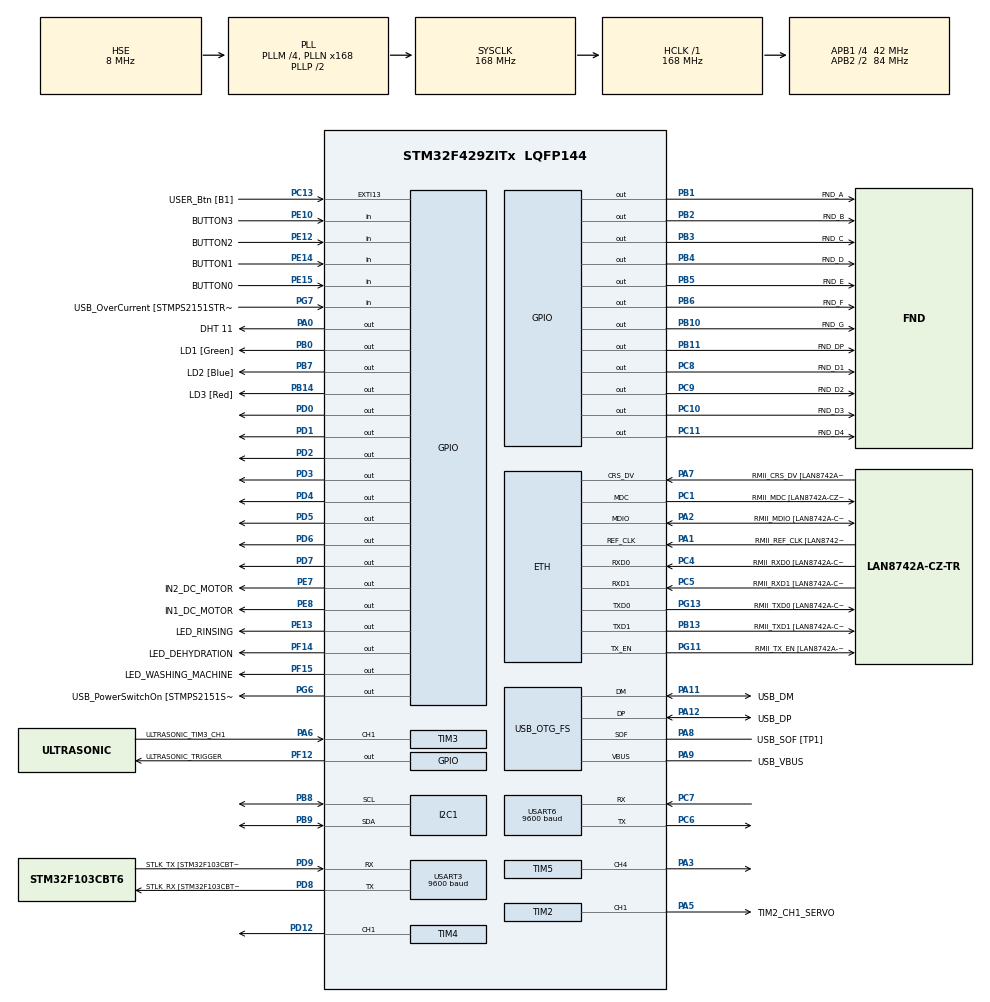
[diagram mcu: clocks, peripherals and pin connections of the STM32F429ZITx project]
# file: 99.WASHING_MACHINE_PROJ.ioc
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ETH.MediaInterface=HAL_ETH_RMII_MODE
ETH.PHY_Name=LAN8742A_PHY_ADDRESS
ETH.PHY_Value=0
ETH.PhyAddress=0
Mcu.Family=STM32F4
Mcu.Name=STM32F429ZITx
Mcu.Package=LQFP144
NVIC.PriorityGroup=NVIC_PRIORITYGROUP_4
NVIC.TIM1_TRG_COM_TIM11_IRQn=true\:0\:0\:false\:false\:true\:true\:true\:true
NVIC.TIM1_UP_TIM10_IRQn=true\:0\:0\:false\:false\:true\:true\:true\:true
NVIC.TIM2_IRQn=true\:0\:0\:false\:false\:true\:true\:true\:true
NVIC.TIM3_IRQn=true\:0\:0\:false\:false\:true\:true\:true\:true
NVIC.TIM4_IRQn=true\:0\:0\:false\:false\:true\:true\:true\:true
NVIC.TIM5_IRQn=true\:0\:0\:false\:false\:true\:true\:true\:true
NVIC.USART3_IRQn=true\:0\:0\:false\:false\:true\:true\:true\:true
NVIC.USART6_IRQn=true\:0\:0\:false\:false\:true\:true\:true\:true
PA0/WKUP.GPIO_Label=DHT 11
PA0/WKUP.Signal=GPIO_Output
PA1.GPIO_Label=RMII_REF_CLK [LAN8742A-CZ-TR_REFCLK0]
PA1.Mode=RMII
PA1.Signal=ETH_REF_CLK
PA10.GPIO_Label=USB_ID
PA10.Signal=USB_OTG_FS_ID
PA11.GPIO_Label=USB_DM
PA11.Mode=Device_Only
PA11.Signal=USB_OTG_FS_DM
PA12.GPIO_Label=USB_DP
PA12.Mode=Device_Only
PA12.Signal=USB_OTG_FS_DP
PA13.GPIO_Label=TMS
PA13.Mode=Serial_Wire
PA13.Signal=SYS_JTMS-SWDIO
PA14.GPIO_Label=TCK
PA14.Mode=Serial_Wire
PA14.Signal=SYS_JTCK-SWCLK
PA2.GPIO_Label=RMII_MDIO [LAN8742A-CZ-TR_MDIO]
PA2.Mode=RMII
PA2.Signal=ETH_MDIO
PA3.Signal=S_TIM5_CH4
PA5.GPIO_Label=TIM2_CH1_SERVO
PA5.Signal=S_TIM2_CH1_ETR
PA6.GPIO_Label=ULTRASONIC_TIM3_CH1
PA6.Signal=S_TIM3_CH1
PA7.GPIO_Label=RMII_CRS_DV [LAN8742A-CZ-TR_CRS_DV]
PA7.Mode=RMII
PA7.Signal=ETH_CRS_DV
PA8.GPIO_Label=USB_SOF [TP1]
PA8.Mode=Activate_SOF_FS
PA8.Signal=USB_OTG_FS_SOF
PA9.GPIO_Label=USB_VBUS
PA9.Mode=Activate_VBUS
PA9.Signal=USB_OTG_FS_VBUS
PB0.GPIO_Label=LD1 [Green]
PB0.Signal=GPIO_Output
PB1.GPIO_Label=FND_A
PB1.Signal=GPIO_Output
PB10.GPIO_Label=FND_G
PB10.Signal=GPIO_Output
PB11.GPIO_Label=FND_DP
PB11.Signal=GPIO_Output
PB13.GPIO_Label=RMII_TXD1 [LAN8742A-CZ-TR_TXD1]
PB13.Mode=RMII
PB13.Signal=ETH_TXD1
PB14.GPIO_Label=LD3 [Red]
PB14.Signal=GPIO_Output
PB2/BOOT1.GPIO_Label=FND_B
PB2/BOOT1.Signal=GPIO_Output
PB3.GPIO_Label=FND_C
PB3.Signal=GPIO_Output
PB4.GPIO_Label=FND_D
PB4.Signal=GPIO_Output
PB5.GPIO_Label=FND_E
PB5.Signal=GPIO_Output
PB6.GPIO_Label=FND_F
PB6.Signal=GPIO_Output
PB7.GPIO_Label=LD2 [Blue]
PB7.Signal=GPIO_Output
PB8.Mode=I2C
PB8.Signal=I2C1_SCL
PB9.Mode=I2C
PB9.Signal=I2C1_SDA
PC1.GPIO_Label=RMII_MDC [LAN8742A-CZ-TR_MDC]
PC1.Mode=RMII
PC1.Signal=ETH_MDC
PC10.GPIO_Label=FND_D3
PC10.Signal=GPIO_Output
PC11.GPIO_Label=FND_D4
PC11.Signal=GPIO_Output
PC13.GPIO_Label=USER_Btn [B1]
PC13.Signal=GPXTI13
PC14/OSC32_IN.Mode=LSE-External-Oscillator
PC14/OSC32_IN.Signal=RCC_OSC32_IN
PC15/OSC32_OUT.Mode=LSE-External-Oscillator
PC15/OSC32_OUT.Signal=RCC_OSC32_OUT
PC4.GPIO_Label=RMII_RXD0 [LAN8742A-CZ-TR_RXD0]
PC4.Mode=RMII
PC4.Signal=ETH_RXD0
PC5.GPIO_Label=RMII_RXD1 [LAN8742A-CZ-TR_RXD1]
PC5.Mode=RMII
PC5.Signal=ETH_RXD1
PC6.Mode=Asynchronous
PC6.Signal=USART6_TX
PC7.Mode=Asynchronous
PC7.Signal=USART6_RX
PC8.GPIO_Label=FND_D1
PC8.Signal=GPIO_Output
PC9.GPIO_Label=FND_D2
PC9.Signal=GPIO_Output
PD0.Signal=GPIO_Output
PD1.Signal=GPIO_Output
PD12.Signal=S_TIM4_CH1
PD2.Signal=GPIO_Output
PD3.Signal=GPIO_Output
PD4.Signal=GPIO_Output
PD5.Signal=GPIO_Output
PD6.Signal=GPIO_Output
PD7.Signal=GPIO_Output
PD8.GPIO_Label=STLK_RX [STM32F103CBT6_PA3]
PD8.Mode=Asynchronous
PD8.Signal=USART3_TX
PD9.GPIO_Label=STLK_TX [STM32F103CBT6_PA2]
PD9.Mode=Asynchronous
PD9.Signal=USART3_RX
PE10.GPIO_Label=BUTTON3
PE10.Signal=GPIO_Input
PE12.GPIO_Label=BUTTON2
PE12.Signal=GPIO_Input
PE13.GPIO_Label=LED_RINSING
PE13.Signal=GPIO_Output
PE14.GPIO_Label=BUTTON1
PE14.Signal=GPIO_Input
PE15.GPIO_Label=BUTTON0
PE15.Signal=GPIO_Input
PE7.GPIO_Label=IN2_DC_MOTOR
PE7.Signal=GPIO_Output
PE8.GPIO_Label=IN1_DC_MOTOR
PE8.Signal=GPIO_Output
PF12.GPIO_Label=ULTRASONIC_TRIGGER
PF12.Signal=GPIO_Output
PF14.GPIO_Label=LED_DEHYDRATION
PF14.Signal=GPIO_Output
PF15.GPIO_Label=LED_WASHING_MACHINE
PF15.Signal=GPIO_Output
PG11.GPIO_Label=RMII_TX_EN [LAN8742A-CZ-TR_TXEN]
PG11.Mode=RMII
PG11.Signal=ETH_TX_EN
PG13.GPIO_Label=RMII_TXD0 [LAN8742A-CZ-TR_TXD0]
PG13.Mode=RMII
PG13.Signal=ETH_TXD0
PG6.GPIO_Label=USB_PowerSwitchOn [STMPS2151STR_EN]
PG6.Signal=GPIO_Output
PG7.GPIO_Label=USB_OverCurrent [STMPS2151STR_FAULT]
PG7.Signal=GPIO_Input
PH0/OSC_IN.GPIO_Label=MCO [STM32F103CBT6_PA8]
PH0/OSC_IN.Mode=HSE-External-Clock-Source
PH0/OSC_IN.Signal=RCC_OSC_IN
PH1/OSC_OUT.Mode=HSE-External-Clock-Source
PH1/OSC_OUT.Signal=RCC_OSC_OUT
ProjectManager.HeapSize=0x200
ProjectManager.StackSize=0x400
ProjectManager.TargetToolchain=STM32CubeIDE
RCC.48MHZClocksFreq_Value=48000000
RCC.AHBFreq_Value=168000000
RCC.APB1CLKDivider=RCC_HCLK_DIV4
RCC.APB1Freq_Value=42000000
RCC.APB1TimFreq_Value=84000000
RCC.APB2CLKDivider=RCC_HCLK_DIV2
RCC.APB2Freq_Value=84000000
RCC.APB2TimCLKDivider=2
RCC.APB2TimFreq_Value=168000000
RCC.CortexFreq_Value=168000000
RCC.HCLKFreq_Value=168000000
RCC.HSE_VALUE=8000000
RCC.HSI_VALUE=16000000
RCC.PLLM=4
RCC.PLLMUL=RCC_PLL_MUL9
RCC.PLLN=168
RCC.PLLQ=7
RCC.PRESCALERUSB=RCC_USBCLKSOURCE_PLL_DIV1_5
RCC.RCC_RTC_Clock_Source=RCC_RTCCLKSOURCE_LSI
RCC.RCC_RTC_Clock_SourceVirtual=RCC_RTCCLKSOURCE_LSI
RCC.SYSCLKFreq_VALUE=168000000
RCC.SYSCLKSource=RCC_SYSCLKSOURCE_PLLCLK
RCC.SYSCLKSourceVirtual=RCC_SYSCLKSOURCE_PLLCLK
RCC.USBFreq_Value=48000000
RCC.VCOOutputFreq_Value=336000000
RTC.Date=16
RTC.Month=RTC_MONTH_OCTOBER
RTC.Year=23
SH.S_TIM2_CH1_ETR.0=TIM2_CH1,PWM Generation1 CH1
SH.S_TIM3_CH1.0=TIM3_CH1,Input_Capture1_from_TI1
SH.S_TIM4_CH1.0=TIM4_CH1,PWM Generation1 CH1
SH.S_TIM5_CH4.0=TIM5_CH4,PWM Generation4 CH4
TIM10.Period=10000-1
TIM10.Prescaler=168-1
TIM11.Prescaler=168-1
TIM2.Channel-PWM\ Generation1\ CH1=TIM_CHANNEL_1
TIM2.Period=1000-1
TIM2.Prescaler=1680-1
TIM2.Pulse-PWM\ Generation1\ CH1=500-1
TIM3.Channel-Input_Capture1_from_TI1=TIM_CHANNEL_1
TIM3.ICPolarity_CH1=TIM_INPUTCHANNELPOLARITY_BOTHEDGE
TIM3.Prescaler=84-1
TIM4.Channel-PWM\ Generation1\ CH1=TIM_CHANNEL_1
TIM4.OCFastMode_PWM-PWM\ Generation1\ CH1=TIM_OCFAST_ENABLE
TIM4.Period=100-1
TIM4.Prescaler=840-1
TIM4.Pulse-PWM\ Generation1\ CH1=70-1
TIM5.Channel-PWM\ Generation4\ CH4=TIM_CHANNEL_4
TIM5.Period=400-1
TIM5.Prescaler=52.5-1
TIM5.Pulse-PWM\ Generation4\ CH4=200-1
USART3.BaudRate=9600
USART3.VirtualMode=VM_ASYNC
USART6.BaudRate=9600
USART6.VirtualMode=VM_ASYNC
USB_OTG_FS.VirtualMode=Device_Only
VP_RTC_VS_RTC_Activate.Mode=RTC_Enabled
VP_RTC_VS_RTC_Calendar.Mode=RTC_Calendar
VP_TIM10_VS_ClockSourceINT.Mode=Enable_Timer
VP_TIM11_VS_ClockSourceINT.Mode=Enable_Timer
VP_TIM4_VS_ClockSourceINT.Mode=Internal
VP_TIM5_VS_ClockSourceINT.Mode=Internal
board=NUCLEO-F429ZI

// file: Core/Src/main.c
/* USER CODE BEGIN Header */
/**
  ******************************************************************************
  * @file           : main.c
  * @brief          : Main program body
  ******************************************************************************
  * @attention
  *
  * Copyright (c) 2023 STMicroelectronics.
  * All rights reserved.
  *
  * This software is licensed under terms that can be found in the LICENSE file
  * in the root directory of this software component.
  * If no LICENSE file comes with this software, it is provided AS-IS.
  *
  ******************************************************************************
  */
#include "stdio.h"
/* USER CODE END Header */
#include "main.h"
#include "string.h"

ETH_TxPacketConfig TxConfig;
ETH_DMADescTypeDef  DMARxDscrTab[ETH_RX_DESC_CNT]; /* Ethernet Rx DMA Descriptors */
ETH_DMADescTypeDef  DMATxDscrTab[ETH_TX_DESC_CNT]; /* Ethernet Tx DMA Descriptors */

ETH_HandleTypeDef heth;

I2C_HandleTypeDef hi2c1;

RTC_HandleTypeDef hrtc;

TIM_HandleTypeDef htim2;
TIM_HandleTypeDef htim3;
TIM_HandleTypeDef htim4;
TIM_HandleTypeDef htim5;
TIM_HandleTypeDef htim10;
TIM_HandleTypeDef htim11;

UART_HandleTypeDef huart3;
UART_HandleTypeDef huart6;

PCD_HandleTypeDef hpcd_USB_OTG_FS;

/* USER CODE BEGIN PV */
uint8_t rx_data;
uint8_t bt_rx_data;
volatile int t1ms_count = 0; // volatile : for disable optimize
volatile int TIM10_10ms_counter = 0;
volatile int TIM10_10ms_ultrasonic = 0;

volatile int led_blink_counter_1ms = 0;
volatile int laundry_timer_counter_10ms = 0;
volatile int rinsing_timer_counter_10ms = 0;
volatile int dehydration_timer_counter_10ms = 0;
volatile int fnd1ms_counter = 0;
volatile int fnd1ms_counter_timer = 0;
volatile int fnd1ms_counter_running = 0;
/* USER CODE END PV */

void SystemClock_Config(void);
static void MX_GPIO_Init(void);
static void MX_ETH_Init(void);
static void MX_USART3_UART_Init(void);
static void MX_USB_OTG_FS_PCD_Init(void);
static void MX_USART6_UART_Init(void);
static void MX_TIM10_Init(void);
static void MX_TIM11_Init(void);
static void MX_TIM3_Init(void);
static void MX_I2C1_Init(void);
static void MX_TIM4_Init(void);
static void MX_TIM2_Init(void);
static void MX_RTC_Init(void);
static void MX_TIM5_Init(void);
/* USER CODE BEGIN PFP */
extern void led_main(void);
extern void pc_command_processing(void);
extern void bt_command_processing(void);
extern void HAL_SYSTIC_handler(void);
extern void DHT11_Init(void);
extern void DHT11_main(void);
extern void DHT11_processing(void);
extern void ultrasonic_processing(void);
extern void i2c_lcd_main(void);
extern void i2c_lcd_init(void);
extern void dcmotor_pwm_control(void);
extern void init_dcmotor_pwm(void);
extern void servo_motor_test_main(void);
extern void get_rtc(void);
extern void lcd_display_mode_select(void);
extern void set_time_button_ui(void);
extern void buzzer_main(void);
extern void fnd4digit_sec_clock(void);
extern void FND4digit_off(void);
void delay_us(unsigned long us);

//washing_machine
extern void washing_machine_init(void);
extern void washing_machine_processing(void);
extern void washing_machine_choice_lcd(void);
/* USER CODE END PFP */

/* USER CODE BEGIN 0 */
//-----------------------//
// call by SysTick_Handler of stm32f4xx_it.c
// ARM default timer
// enter here every 1ms
void HAL_SYSTIC_handler(void)
{
	t1ms_count++; // 1ms timer
	fnd1ms_counter++;
	fnd1ms_counter_timer++; // 1ms fnd timer
	fnd1ms_counter_running++;
	led_blink_counter_1ms++;
}
//----------  printf start ----------
#ifdef __GNUC__
/* With GCC, small printf (option LD Linker->Libraries->Small printf
   set to 'Yes') calls __io_putchar() */
#define PUTCHAR_PROTOTYPE int __io_putchar(int ch)
#else
#define PUTCHAR_PROTOTYPE int fputc(int ch, FILE *f)
#endif /* __GNUC_ */
/**
  * @brief  Retargets the C library printf function to the USART.
  * @param  None
  * @retval None
  */
PUTCHAR_PROTOTYPE   // Add for printf
{
  /* Place your implementation of fputc here */
  /* e.g. write a character to the USART3 and Loop until the end of transmission */
  HAL_UART_Transmit(&huart3, (uint8_t *)&ch, 1, 0xFFFF);

  return ch;
}
//----------  printf end ----------

/**
  * @brief  The application entry point.
  * @retval int
  */

/**
  * @brief  Period elapsed callback in non-blocking mode
  * @param  htim TIM handle
  * @retval None
  */
// move from Driver/STM32F4xx_HAL_Driver/stm3f4xx_hal_tim.c to here
void HAL_TIM_PeriodElapsedCallback(TIM_HandleTypeDef *htim)
{
	if (htim->Instance == TIM10)
	{
		TIM10_10ms_ultrasonic++; // 초음?�� ?��?��
		TIM10_10ms_counter++; // 10ms timer counter
		laundry_timer_counter_10ms++;
		rinsing_timer_counter_10ms++;
		dehydration_timer_counter_10ms++;
	}
}

void delay_us(unsigned long us)
{
	// H/W Register
	__HAL_TIM_SET_COUNTER(&htim11, 0); // timer 11 clear
	while(__HAL_TIM_GET_COUNTER(&htim11) < us) {}
}

/* USER CODE END 0 */

int main(void)
{

  /* MCU Configuration--------------------------------------------------------*/

  /* Reset of all peripherals, Initializes the Flash interface and the Systick. */
  HAL_Init();

  /* Configure the system clock */
  SystemClock_Config();

  /* Initialize all configured peripherals */
  MX_GPIO_Init();
  MX_ETH_Init();
  MX_USART3_UART_Init();
  MX_USB_OTG_FS_PCD_Init();
  MX_USART6_UART_Init();
  MX_TIM10_Init();
  MX_TIM11_Init();
  MX_TIM3_Init();
  MX_I2C1_Init();
  MX_TIM4_Init();
  MX_TIM2_Init();
  MX_RTC_Init();
  MX_TIM5_Init();
  /* USER CODE BEGIN 2 */
  HAL_TIM_Base_Start_IT(&htim10);	// ADD_Dohyeon_1011
  HAL_TIM_Base_Start_IT(&htim11);	// ADD_Dohyeon_1011
  HAL_TIM_IC_Start_IT(&htim3, TIM_CHANNEL_1); // for count pulse(rising edge & falling edge)
  HAL_UART_Receive_IT(&huart3, &rx_data, 1); // assign to RX INTURRUPT
  HAL_UART_Receive_IT(&huart6, &bt_rx_data, 1); // for BT assign to RX INTURRUPT
  HAL_TIM_PWM_Start_IT(&htim4, TIM_CHANNEL_1); // for DC motor PWM control
  HAL_TIM_PWM_Start_IT(&htim2, TIM_CHANNEL_1); // for SERVO motor PWM control

  //washing machine
  washing_machine_init();
  washing_machine_choice_lcd();
  /* USER CODE END 2 */

  /* Infinite loop */
  /* USER CODE BEGIN WHILE */
  while (1)
  {
//	  DHT11_processing();
//	  pc_command_processing();
	  ultrasonic_processing();
//	  dcmotor_pwm_control();
//	  bt_command_processing();
//	  get_rtc();
//	  lcd_display_mode_select();
//	  set_time_button_ui();

	  washing_machine_processing();

//	  fnd4digit_sec_clock();
    /* USER CODE END WHILE */

  }
}

void SystemClock_Config(void)
{
  RCC_OscInitTypeDef RCC_OscInitStruct = {0};
  RCC_ClkInitTypeDef RCC_ClkInitStruct = {0};

  /** Configure the main internal regulator output voltage
  */
  __HAL_RCC_PWR_CLK_ENABLE();
  __HAL_PWR_VOLTAGESCALING_CONFIG(PWR_REGULATOR_VOLTAGE_SCALE1);

  /** Initializes the RCC Oscillators according to the specified parameters
  * in the RCC_OscInitTypeDef structure.
  */
  RCC_OscInitStruct.OscillatorType = RCC_OSCILLATORTYPE_LSI|RCC_OSCILLATORTYPE_HSE;
  RCC_OscInitStruct.HSEState = RCC_HSE_BYPASS;
  RCC_OscInitStruct.LSIState = RCC_LSI_ON;
  RCC_OscInitStruct.PLL.PLLState = RCC_PLL_ON;
  RCC_OscInitStruct.PLL.PLLSource = RCC_PLLSOURCE_HSE;
  RCC_OscInitStruct.PLL.PLLM = 4;
  RCC_OscInitStruct.PLL.PLLN = 168;
  RCC_OscInitStruct.PLL.PLLP = RCC_PLLP_DIV2;
  RCC_OscInitStruct.PLL.PLLQ = 7;
  if (HAL_RCC_OscConfig(&RCC_OscInitStruct) != HAL_OK)
  {
    Error_Handler();
  }

  /** Initializes the CPU, AHB and APB buses clocks
  */
  RCC_ClkInitStruct.ClockType = RCC_CLOCKTYPE_HCLK|RCC_CLOCKTYPE_SYSCLK
                              |RCC_CLOCKTYPE_PCLK1|RCC_CLOCKTYPE_PCLK2;
  RCC_ClkInitStruct.SYSCLKSource = RCC_SYSCLKSOURCE_PLLCLK;
  RCC_ClkInitStruct.AHBCLKDivider = RCC_SYSCLK_DIV1;
  RCC_ClkInitStruct.APB1CLKDivider = RCC_HCLK_DIV4;
  RCC_ClkInitStruct.APB2CLKDivider = RCC_HCLK_DIV2;

  if (HAL_RCC_ClockConfig(&RCC_ClkInitStruct, FLASH_LATENCY_5) != HAL_OK)
  {
    Error_Handler();
  }
}

static void MX_ETH_Init(void)
{

   static uint8_t MACAddr[6];

  heth.Instance = ETH;
  MACAddr[0] = 0x00;
  MACAddr[1] = 0x80;
  MACAddr[2] = 0xE1;
  MACAddr[3] = 0x00;
  MACAddr[4] = 0x00;
  MACAddr[5] = 0x00;
  heth.Init.MACAddr = &MACAddr[0];
  heth.Init.MediaInterface = HAL_ETH_RMII_MODE;
  heth.Init.TxDesc = DMATxDscrTab;
  heth.Init.RxDesc = DMARxDscrTab;
  heth.Init.RxBuffLen = 1524;

  if (HAL_ETH_Init(&heth) != HAL_OK)
  {
    Error_Handler();
  }

  memset(&TxConfig, 0 , sizeof(ETH_TxPacketConfig));
  TxConfig.Attributes = ETH_TX_PACKETS_FEATURES_CSUM | ETH_TX_PACKETS_FEATURES_CRCPAD;
  TxConfig.ChecksumCtrl = ETH_CHECKSUM_IPHDR_PAYLOAD_INSERT_PHDR_CALC;
  TxConfig.CRCPadCtrl = ETH_CRC_PAD_INSERT;

}

static void MX_I2C1_Init(void)
{

  hi2c1.Instance = I2C1;
  hi2c1.Init.ClockSpeed = 100000;
  hi2c1.Init.DutyCycle = I2C_DUTYCYCLE_2;
  hi2c1.Init.OwnAddress1 = 0;
  hi2c1.Init.AddressingMode = I2C_ADDRESSINGMODE_7BIT;
  hi2c1.Init.DualAddressMode = I2C_DUALADDRESS_DISABLE;
  hi2c1.Init.OwnAddress2 = 0;
  hi2c1.Init.GeneralCallMode = I2C_GENERALCALL_DISABLE;
  hi2c1.Init.NoStretchMode = I2C_NOSTRETCH_DISABLE;
  if (HAL_I2C_Init(&hi2c1) != HAL_OK)
  {
    Error_Handler();
  }

  /** Configure Analogue filter
  */
  if (HAL_I2CEx_ConfigAnalogFilter(&hi2c1, I2C_ANALOGFILTER_ENABLE) != HAL_OK)
  {
    Error_Handler();
  }

  /** Configure Digital filter
  */
  if (HAL_I2CEx_ConfigDigitalFilter(&hi2c1, 0) != HAL_OK)
  {
    Error_Handler();
  }

}

static void MX_RTC_Init(void)
{

  RTC_TimeTypeDef sTime = {0};
  RTC_DateTypeDef sDate = {0};

  /** Initialize RTC Only
  */
  hrtc.Instance = RTC;
  hrtc.Init.HourFormat = RTC_HOURFORMAT_24;
  hrtc.Init.AsynchPrediv = 127;
  hrtc.Init.SynchPrediv = 255;
  hrtc.Init.OutPut = RTC_OUTPUT_DISABLE;
  hrtc.Init.OutPutPolarity = RTC_OUTPUT_POLARITY_HIGH;
  hrtc.Init.OutPutType = RTC_OUTPUT_TYPE_OPENDRAIN;
  if (HAL_RTC_Init(&hrtc) != HAL_OK)
  {
    Error_Handler();
  }

  /** Initialize RTC and set the Time and Date
  */
  sTime.Hours = 0x0;
  sTime.Minutes = 0x0;
  sTime.Seconds = 0x0;
  sTime.DayLightSaving = RTC_DAYLIGHTSAVING_NONE;
  sTime.StoreOperation = RTC_STOREOPERATION_RESET;
  if (HAL_RTC_SetTime(&hrtc, &sTime, RTC_FORMAT_BCD) != HAL_OK)
  {
    Error_Handler();
  }
  sDate.WeekDay = RTC_WEEKDAY_MONDAY;
  sDate.Month = RTC_MONTH_OCTOBER;
  sDate.Date = 0x16;
  sDate.Year = 0x23;

  if (HAL_RTC_SetDate(&hrtc, &sDate, RTC_FORMAT_BCD) != HAL_OK)
  {
    Error_Handler();
  }

}

static void MX_TIM2_Init(void)
{

  TIM_MasterConfigTypeDef sMasterConfig = {0};
  TIM_OC_InitTypeDef sConfigOC = {0};

  htim2.Instance = TIM2;
  htim2.Init.Prescaler = 1680-1;
  htim2.Init.CounterMode = TIM_COUNTERMODE_UP;
  htim2.Init.Period = 1000-1;
  htim2.Init.ClockDivision = TIM_CLOCKDIVISION_DIV1;
  htim2.Init.AutoReloadPreload = TIM_AUTORELOAD_PRELOAD_DISABLE;
  if (HAL_TIM_PWM_Init(&htim2) != HAL_OK)
  {
    Error_Handler();
  }
  sMasterConfig.MasterOutputTrigger = TIM_TRGO_RESET;
  sMasterConfig.MasterSlaveMode = TIM_MASTERSLAVEMODE_DISABLE;
  if (HAL_TIMEx_MasterConfigSynchronization(&htim2, &sMasterConfig) != HAL_OK)
  {
    Error_Handler();
  }
  sConfigOC.OCMode = TIM_OCMODE_PWM1;
  sConfigOC.Pulse = 500-1;
  sConfigOC.OCPolarity = TIM_OCPOLARITY_HIGH;
  sConfigOC.OCFastMode = TIM_OCFAST_DISABLE;
  if (HAL_TIM_PWM_ConfigChannel(&htim2, &sConfigOC, TIM_CHANNEL_1) != HAL_OK)
  {
    Error_Handler();
  }
  HAL_TIM_MspPostInit(&htim2);

}

static void MX_TIM3_Init(void)
{

  TIM_MasterConfigTypeDef sMasterConfig = {0};
  TIM_IC_InitTypeDef sConfigIC = {0};

  htim3.Instance = TIM3;
  htim3.Init.Prescaler = 84-1;
  htim3.Init.CounterMode = TIM_COUNTERMODE_UP;
  htim3.Init.Period = 65535;
  htim3.Init.ClockDivision = TIM_CLOCKDIVISION_DIV1;
  htim3.Init.AutoReloadPreload = TIM_AUTORELOAD_PRELOAD_DISABLE;
  if (HAL_TIM_IC_Init(&htim3) != HAL_OK)
  {
    Error_Handler();
  }
  sMasterConfig.MasterOutputTrigger = TIM_TRGO_RESET;
  sMasterConfig.MasterSlaveMode = TIM_MASTERSLAVEMODE_DISABLE;
  if (HAL_TIMEx_MasterConfigSynchronization(&htim3, &sMasterConfig) != HAL_OK)
  {
    Error_Handler();
  }
  sConfigIC.ICPolarity = TIM_INPUTCHANNELPOLARITY_BOTHEDGE;
  sConfigIC.ICSelection = TIM_ICSELECTION_DIRECTTI;
  sConfigIC.ICPrescaler = TIM_ICPSC_DIV1;
  sConfigIC.ICFilter = 0;
  if (HAL_TIM_IC_ConfigChannel(&htim3, &sConfigIC, TIM_CHANNEL_1) != HAL_OK)
  {
    Error_Handler();
  }

}

static void MX_TIM4_Init(void)
{

  TIM_ClockConfigTypeDef sClockSourceConfig = {0};
  TIM_MasterConfigTypeDef sMasterConfig = {0};
  TIM_OC_InitTypeDef sConfigOC = {0};

  htim4.Instance = TIM4;
  htim4.Init.Prescaler = 840-1;
  htim4.Init.CounterMode = TIM_COUNTERMODE_UP;
  htim4.Init.Period = 100-1;
  htim4.Init.ClockDivision = TIM_CLOCKDIVISION_DIV1;
  htim4.Init.AutoReloadPreload = TIM_AUTORELOAD_PRELOAD_DISABLE;
  if (HAL_TIM_Base_Init(&htim4) != HAL_OK)
  {
    Error_Handler();
  }
  sClockSourceConfig.ClockSource = TIM_CLOCKSOURCE_INTERNAL;
  if (HAL_TIM_ConfigClockSource(&htim4, &sClockSourceConfig) != HAL_OK)
  {
    Error_Handler();
  }
  if (HAL_TIM_PWM_Init(&htim4) != HAL_OK)
  {
    Error_Handler();
  }
  sMasterConfig.MasterOutputTrigger = TIM_TRGO_RESET;
  sMasterConfig.MasterSlaveMode = TIM_MASTERSLAVEMODE_DISABLE;
  if (HAL_TIMEx_MasterConfigSynchronization(&htim4, &sMasterConfig) != HAL_OK)
  {
    Error_Handler();
  }
  sConfigOC.OCMode = TIM_OCMODE_PWM1;
  sConfigOC.Pulse = 70-1;
  sConfigOC.OCPolarity = TIM_OCPOLARITY_HIGH;
  sConfigOC.OCFastMode = TIM_OCFAST_ENABLE;
  if (HAL_TIM_PWM_ConfigChannel(&htim4, &sConfigOC, TIM_CHANNEL_1) != HAL_OK)
  {
    Error_Handler();
  }
  HAL_TIM_MspPostInit(&htim4);

}

static void MX_TIM5_Init(void)
{

  TIM_ClockConfigTypeDef sClockSourceConfig = {0};
  TIM_MasterConfigTypeDef sMasterConfig = {0};
  TIM_OC_InitTypeDef sConfigOC = {0};

  htim5.Instance = TIM5;
  htim5.Init.Prescaler = 52.5-1;
  htim5.Init.CounterMode = TIM_COUNTERMODE_UP;
  htim5.Init.Period = 400-1;
  htim5.Init.ClockDivision = TIM_CLOCKDIVISION_DIV1;
  htim5.Init.AutoReloadPreload = TIM_AUTORELOAD_PRELOAD_DISABLE;
  if (HAL_TIM_Base_Init(&htim5) != HAL_OK)
  {
    Error_Handler();
  }
  sClockSourceConfig.ClockSource = TIM_CLOCKSOURCE_INTERNAL;
  if (HAL_TIM_ConfigClockSource(&htim5, &sClockSourceConfig) != HAL_OK)
  {
    Error_Handler();
  }
  if (HAL_TIM_PWM_Init(&htim5) != HAL_OK)
  {
    Error_Handler();
  }
  sMasterConfig.MasterOutputTrigger = TIM_TRGO_RESET;
  sMasterConfig.MasterSlaveMode = TIM_MASTERSLAVEMODE_DISABLE;
  if (HAL_TIMEx_MasterConfigSynchronization(&htim5, &sMasterConfig) != HAL_OK)
  {
    Error_Handler();
  }
  sConfigOC.OCMode = TIM_OCMODE_PWM1;
  sConfigOC.Pulse = 200-1;
  sConfigOC.OCPolarity = TIM_OCPOLARITY_HIGH;
  sConfigOC.OCFastMode = TIM_OCFAST_DISABLE;
  if (HAL_TIM_PWM_ConfigChannel(&htim5, &sConfigOC, TIM_CHANNEL_4) != HAL_OK)
  {
    Error_Handler();
  }
  HAL_TIM_MspPostInit(&htim5);

}

static void MX_TIM10_Init(void)
{

  htim10.Instance = TIM10;
  htim10.Init.Prescaler = 168-1;
  htim10.Init.CounterMode = TIM_COUNTERMODE_UP;
  htim10.Init.Period = 10000-1;
  htim10.Init.ClockDivision = TIM_CLOCKDIVISION_DIV1;
  htim10.Init.AutoReloadPreload = TIM_AUTORELOAD_PRELOAD_DISABLE;
  if (HAL_TIM_Base_Init(&htim10) != HAL_OK)
  {
    Error_Handler();
  }

}

static void MX_TIM11_Init(void)
{

  htim11.Instance = TIM11;
  htim11.Init.Prescaler = 168-1;
  htim11.Init.CounterMode = TIM_COUNTERMODE_UP;
  htim11.Init.Period = 65535;
  htim11.Init.ClockDivision = TIM_CLOCKDIVISION_DIV1;
  htim11.Init.AutoReloadPreload = TIM_AUTORELOAD_PRELOAD_DISABLE;
  if (HAL_TIM_Base_Init(&htim11) != HAL_OK)
  {
    Error_Handler();
  }

}

static void MX_USART3_UART_Init(void)
{

  huart3.Instance = USART3;
  huart3.Init.BaudRate = 9600;
  huart3.Init.WordLength = UART_WORDLENGTH_8B;
  huart3.Init.StopBits = UART_STOPBITS_1;
  huart3.Init.Parity = UART_PARITY_NONE;
  huart3.Init.Mode = UART_MODE_TX_RX;
  huart3.Init.HwFlowCtl = UART_HWCONTROL_NONE;
  huart3.Init.OverSampling = UART_OVERSAMPLING_16;
  if (HAL_UART_Init(&huart3) != HAL_OK)
  {
    Error_Handler();
  }

}

static void MX_USART6_UART_Init(void)
{

  huart6.Instance = USART6;
  huart6.Init.BaudRate = 9600;
  huart6.Init.WordLength = UART_WORDLENGTH_8B;
  huart6.Init.StopBits = UART_STOPBITS_1;
  huart6.Init.Parity = UART_PARITY_NONE;
  huart6.Init.Mode = UART_MODE_TX_RX;
  huart6.Init.HwFlowCtl = UART_HWCONTROL_NONE;
  huart6.Init.OverSampling = UART_OVERSAMPLING_16;
  if (HAL_UART_Init(&huart6) != HAL_OK)
  {
    Error_Handler();
  }

}

static void MX_USB_OTG_FS_PCD_Init(void)
{

  hpcd_USB_OTG_FS.Instance = USB_OTG_FS;
  hpcd_USB_OTG_FS.Init.dev_endpoints = 4;
  hpcd_USB_OTG_FS.Init.speed = PCD_SPEED_FULL;
  hpcd_USB_OTG_FS.Init.dma_enable = DISABLE;
  hpcd_USB_OTG_FS.Init.phy_itface = PCD_PHY_EMBEDDED;
  hpcd_USB_OTG_FS.Init.Sof_enable = ENABLE;
  hpcd_USB_OTG_FS.Init.low_power_enable = DISABLE;
  hpcd_USB_OTG_FS.Init.lpm_enable = DISABLE;
  hpcd_USB_OTG_FS.Init.vbus_sensing_enable = ENABLE;
  hpcd_USB_OTG_FS.Init.use_dedicated_ep1 = DISABLE;
  if (HAL_PCD_Init(&hpcd_USB_OTG_FS) != HAL_OK)
  {
    Error_Handler();
  }

}

static void MX_GPIO_Init(void)
{
  GPIO_InitTypeDef GPIO_InitStruct = {0};

  /* GPIO Ports Clock Enable */
  __HAL_RCC_GPIOC_CLK_ENABLE();
  __HAL_RCC_GPIOH_CLK_ENABLE();
  __HAL_RCC_GPIOA_CLK_ENABLE();
  __HAL_RCC_GPIOB_CLK_ENABLE();
  __HAL_RCC_GPIOF_CLK_ENABLE();
  __HAL_RCC_GPIOE_CLK_ENABLE();
  __HAL_RCC_GPIOD_CLK_ENABLE();
  __HAL_RCC_GPIOG_CLK_ENABLE();

  /*Configure GPIO pin Output Level */
  HAL_GPIO_WritePin(DHT_11_GPIO_Port, DHT_11_Pin, GPIO_PIN_RESET);

  /*Configure GPIO pin Output Level */
  HAL_GPIO_WritePin(GPIOB, LD1_Pin|FND_A_Pin|FND_B_Pin|FND_G_Pin
                          |FND_DP_Pin|LD3_Pin|FND_C_Pin|FND_D_Pin
                          |FND_E_Pin|FND_F_Pin|LD2_Pin, GPIO_PIN_RESET);

  /*Configure GPIO pin Output Level */
  HAL_GPIO_WritePin(GPIOF, ULTRASONIC_TRIGGER_Pin|LED_DEHYDRATION_Pin|LED_WASHING_MACHINE_Pin, GPIO_PIN_RESET);

  /*Configure GPIO pin Output Level */
  HAL_GPIO_WritePin(GPIOE, IN2_DC_MOTOR_Pin|IN1_DC_MOTOR_Pin|LED_RINSING_Pin, GPIO_PIN_RESET);

  /*Configure GPIO pin Output Level */
  HAL_GPIO_WritePin(USB_PowerSwitchOn_GPIO_Port, USB_PowerSwitchOn_Pin, GPIO_PIN_RESET);

  /*Configure GPIO pin Output Level */
  HAL_GPIO_WritePin(GPIOC, FND_D1_Pin|FND_D2_Pin|FND_D3_Pin|FND_D4_Pin, GPIO_PIN_RESET);

  /*Configure GPIO pin Output Level */
  HAL_GPIO_WritePin(GPIOD, GPIO_PIN_0|GPIO_PIN_1|GPIO_PIN_2|GPIO_PIN_3
                          |GPIO_PIN_4|GPIO_PIN_5|GPIO_PIN_6|GPIO_PIN_7, GPIO_PIN_RESET);

  /*Configure GPIO pin : USER_Btn_Pin */
  GPIO_InitStruct.Pin = USER_Btn_Pin;
  GPIO_InitStruct.Mode = GPIO_MODE_IT_RISING;
  GPIO_InitStruct.Pull = GPIO_NOPULL;
  HAL_GPIO_Init(USER_Btn_GPIO_Port, &GPIO_InitStruct);

  /*Configure GPIO pin : DHT_11_Pin */
  GPIO_InitStruct.Pin = DHT_11_Pin;
  GPIO_InitStruct.Mode = GPIO_MODE_OUTPUT_PP;
  GPIO_InitStruct.Pull = GPIO_NOPULL;
  GPIO_InitStruct.Speed = GPIO_SPEED_FREQ_LOW;
  HAL_GPIO_Init(DHT_11_GPIO_Port, &GPIO_InitStruct);

  /*Configure GPIO pins : LD1_Pin FND_A_Pin FND_B_Pin FND_G_Pin
                           FND_DP_Pin LD3_Pin FND_C_Pin FND_D_Pin
                           FND_E_Pin FND_F_Pin LD2_Pin */
  GPIO_InitStruct.Pin = LD1_Pin|FND_A_Pin|FND_B_Pin|FND_G_Pin
                          |FND_DP_Pin|LD3_Pin|FND_C_Pin|FND_D_Pin
                          |FND_E_Pin|FND_F_Pin|LD2_Pin;
  GPIO_InitStruct.Mode = GPIO_MODE_OUTPUT_PP;
  GPIO_InitStruct.Pull = GPIO_NOPULL;
  GPIO_InitStruct.Speed = GPIO_SPEED_FREQ_LOW;
  HAL_GPIO_Init(GPIOB, &GPIO_InitStruct);

  /*Configure GPIO pins : ULTRASONIC_TRIGGER_Pin LED_DEHYDRATION_Pin LED_WASHING_MACHINE_Pin */
  GPIO_InitStruct.Pin = ULTRASONIC_TRIGGER_Pin|LED_DEHYDRATION_Pin|LED_WASHING_MACHINE_Pin;
  GPIO_InitStruct.Mode = GPIO_MODE_OUTPUT_PP;
  GPIO_InitStruct.Pull = GPIO_NOPULL;
  GPIO_InitStruct.Speed = GPIO_SPEED_FREQ_LOW;
  HAL_GPIO_Init(GPIOF, &GPIO_InitStruct);

  /*Configure GPIO pins : IN2_DC_MOTOR_Pin IN1_DC_MOTOR_Pin LED_RINSING_Pin */
  GPIO_InitStruct.Pin = IN2_DC_MOTOR_Pin|IN1_DC_MOTOR_Pin|LED_RINSING_Pin;
  GPIO_InitStruct.Mode = GPIO_MODE_OUTPUT_PP;
  GPIO_InitStruct.Pull = GPIO_NOPULL;
  GPIO_InitStruct.Speed = GPIO_SPEED_FREQ_LOW;
  HAL_GPIO_Init(GPIOE, &GPIO_InitStruct);

  /*Configure GPIO pins : BUTTON3_Pin BUTTON2_Pin BUTTON1_Pin BUTTON0_Pin */
  GPIO_InitStruct.Pin = BUTTON3_Pin|BUTTON2_Pin|BUTTON1_Pin|BUTTON0_Pin;
  GPIO_InitStruct.Mode = GPIO_MODE_INPUT;
  GPIO_InitStruct.Pull = GPIO_NOPULL;
  HAL_GPIO_Init(GPIOE, &GPIO_InitStruct);

  /*Configure GPIO pin : USB_PowerSwitchOn_Pin */
  GPIO_InitStruct.Pin = USB_PowerSwitchOn_Pin;
  GPIO_InitStruct.Mode = GPIO_MODE_OUTPUT_PP;
  GPIO_InitStruct.Pull = GPIO_NOPULL;
  GPIO_InitStruct.Speed = GPIO_SPEED_FREQ_LOW;
  HAL_GPIO_Init(USB_PowerSwitchOn_GPIO_Port, &GPIO_InitStruct);

  /*Configure GPIO pin : USB_OverCurrent_Pin */
  GPIO_InitStruct.Pin = USB_OverCurrent_Pin;
  GPIO_InitStruct.Mode = GPIO_MODE_INPUT;
  GPIO_InitStruct.Pull = GPIO_NOPULL;
  HAL_GPIO_Init(USB_OverCurrent_GPIO_Port, &GPIO_InitStruct);

  /*Configure GPIO pins : FND_D1_Pin FND_D2_Pin FND_D3_Pin FND_D4_Pin */
  GPIO_InitStruct.Pin = FND_D1_Pin|FND_D2_Pin|FND_D3_Pin|FND_D4_Pin;
  GPIO_InitStruct.Mode = GPIO_MODE_OUTPUT_PP;
  GPIO_InitStruct.Pull = GPIO_NOPULL;
  GPIO_InitStruct.Speed = GPIO_SPEED_FREQ_LOW;
  HAL_GPIO_Init(GPIOC, &GPIO_InitStruct);

  /*Configure GPIO pins : PD0 PD1 PD2 PD3
                           PD4 PD5 PD6 PD7 */
  GPIO_InitStruct.Pin = GPIO_PIN_0|GPIO_PIN_1|GPIO_PIN_2|GPIO_PIN_3
                          |GPIO_PIN_4|GPIO_PIN_5|GPIO_PIN_6|GPIO_PIN_7;
  GPIO_InitStruct.Mode = GPIO_MODE_OUTPUT_PP;
  GPIO_InitStruct.Pull = GPIO_NOPULL;
  GPIO_InitStruct.Speed = GPIO_SPEED_FREQ_LOW;
  HAL_GPIO_Init(GPIOD, &GPIO_InitStruct);

}

void Error_Handler(void)
{
  __disable_irq();
  while (1)
  {
  }
}
